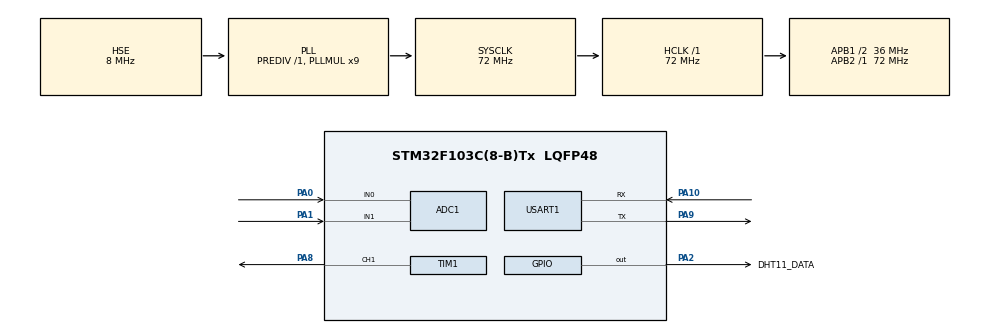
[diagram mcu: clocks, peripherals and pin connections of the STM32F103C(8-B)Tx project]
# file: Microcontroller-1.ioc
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ADC1.Channel-0\#ChannelRegularConversion=ADC_CHANNEL_0
ADC1.Channel-1\#ChannelRegularConversion=ADC_CHANNEL_1
ADC1.NbrOfConversion=2
ADC1.NbrOfConversionFlag=1
ADC1.Rank-0\#ChannelRegularConversion=1
ADC1.Rank-1\#ChannelRegularConversion=2
ADC1.SamplingTime-0\#ChannelRegularConversion=ADC_SAMPLETIME_55CYCLES_5
ADC1.SamplingTime-1\#ChannelRegularConversion=ADC_SAMPLETIME_55CYCLES_5
ADC1.master=1
Mcu.Family=STM32F1
Mcu.Name=STM32F103C(8-B)Tx
Mcu.Package=LQFP48
NVIC.PriorityGroup=NVIC_PRIORITYGROUP_4
PA0-WKUP.Signal=ADCx_IN0
PA1.Signal=ADCx_IN1
PA10.Mode=Asynchronous
PA10.Signal=USART1_RX
PA13.Mode=Serial_Wire
PA13.Signal=SYS_JTMS-SWDIO
PA14.Mode=Serial_Wire
PA14.Signal=SYS_JTCK-SWCLK
PA2.GPIO_Label=DHT11_DATA
PA2.GPIO_PuPd=GPIO_PULLUP
PA2.GPIO_Speed=GPIO_SPEED_FREQ_HIGH
PA2.PinState=GPIO_PIN_SET
PA2.Signal=GPIO_Output
PA8.Signal=S_TIM1_CH1
PA9.Mode=Asynchronous
PA9.Signal=USART1_TX
PD0-OSC_IN.Mode=HSE-External-Oscillator
PD0-OSC_IN.Signal=RCC_OSC_IN
PD1-OSC_OUT.Mode=HSE-External-Oscillator
PD1-OSC_OUT.Signal=RCC_OSC_OUT
ProjectManager.HeapSize=0x200
ProjectManager.StackSize=0x400
ProjectManager.TargetToolchain=STM32CubeIDE
RCC.ADCPresc=RCC_ADCPCLK2_DIV6
RCC.AHBFreq_Value=72000000
RCC.APB1CLKDivider=RCC_HCLK_DIV2
RCC.APB1Freq_Value=36000000
RCC.APB1TimFreq_Value=72000000
RCC.APB2Freq_Value=72000000
RCC.APB2TimFreq_Value=72000000
RCC.HCLKFreq_Value=72000000
RCC.PLLMUL=RCC_PLL_MUL9
RCC.PLLSourceVirtual=RCC_PLLSOURCE_HSE
RCC.SYSCLKFreq_VALUE=72000000
RCC.SYSCLKSource=RCC_SYSCLKSOURCE_PLLCLK
RCC.USBFreq_Value=72000000
SH.ADCx_IN0.0=ADC1_IN0,IN0
SH.ADCx_IN1.0=ADC1_IN1,IN1
SH.S_TIM1_CH1.0=TIM1_CH1,PWM Generation1 CH1
TIM1.Channel-PWM\ Generation1\ CH1=TIM_CHANNEL_1
TIM1.Period=19999
TIM1.Prescaler=71
TIM1.Pulse-PWM\ Generation1\ CH1=1000
USART1.VirtualMode=VM_ASYNC
board=custom

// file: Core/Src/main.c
/* USER CODE BEGIN Header */
/**
  ******************************************************************************
  * @file           : main.c
  * @brief          : Main program body
  ******************************************************************************
  * @attention
  *
  * Copyright (c) 2026 STMicroelectronics.
  * All rights reserved.
  *
  * This software is licensed under terms that can be found in the LICENSE file
  * in the root directory of this software component.
  * If no LICENSE file comes with this software, it is provided AS-IS.
  *
  ******************************************************************************
  */
/* USER CODE END Header */
#include "main.h"
#include "adc.h"
#include "tim.h"
#include "usart.h"
#include "gpio.h"

/* USER CODE BEGIN Includes */
#include <stdio.h>
#include <stdbool.h>
#include "dht11.h"
#include "servo.h"
#include "sensors.h"
/* USER CODE END Includes */

/* USER CODE BEGIN PD */
#define TARGET_SOIL_MOISTURE       60   /* Desired moisture level (%) */
#define DRY_SOIL_THRESHOLD         40   /* Trigger watering below this (%) */
#define BASE_SECONDS_PER_DEFICIT   0.4f /* Seconds per % deficit */
/* USER CODE END PD */

void SystemClock_Config(void);

/* USER CODE BEGIN 0 */
/* Redirect standard printf to USART1 (PA9 TX) */
int __io_putchar(int ch)
{
  HAL_UART_Transmit(&huart1, (uint8_t *)&ch, 1, 10);
  return ch;
}
/* USER CODE END 0 */

int main(void)
{

  /* MCU Configuration--------------------------------------------------------*/

  /* Reset of all peripherals, Initializes the Flash interface and the Systick. */
  HAL_Init();

  /* Configure the system clock */
  SystemClock_Config();

  /* Initialize all configured peripherals */
  MX_GPIO_Init();
  MX_ADC1_Init();
  MX_TIM1_Init();
  MX_USART1_UART_Init();
  /* USER CODE BEGIN 2 */
  DHT11_Init();
  Servo_Init();

  printf("\r\n========================================\r\n");
  printf("  STM32 Smart Irrigation System Started\r\n");
  printf("========================================\r\n");
  HAL_Delay(1000);
  /* USER CODE END 2 */

  /* Infinite loop */
  while (1)
  {

    /* USER CODE BEGIN 3 */
    DHT11_Data_t dht_data = {0};
    DHT11_StatusTypeDef dht_status = DHT11_Read(&dht_data);

    uint8_t soil_moisture = Sensors_GetSoilMoisturePercent();
    bool is_raining = Sensors_IsRaining();

    printf("\r\n----------------------------------------\r\n");
    printf("Soil Moisture : %d %%\r\n", soil_moisture);
    if (dht_status == DHT11_OK)
    {
      printf("Temperature   : %d C\r\n", dht_data.temperature);
      printf("Humidity      : %d %%\r\n", dht_data.humidity);
    }
    else
    {
      printf("DHT11 Status  : Waiting / Read Retry\r\n");
    }
    printf("Rain Status   : %s\r\n", is_raining ? "RAINING!" : "Clear / Dry");

    /* Automated Irrigation Control Logic */
    if (is_raining)
    {
      printf(">> Rain detected! Valve kept CLOSED to save water.\r\n");
      Valve_Close();
    }
    else if (soil_moisture < DRY_SOIL_THRESHOLD)
    {
      int deficit = TARGET_SOIL_MOISTURE - soil_moisture;
      float watering_duration = (float)deficit * BASE_SECONDS_PER_DEFICIT;

      /* Climate adjustments */
      if (dht_status == DHT11_OK)
      {
        if (dht_data.temperature > 30)
        {
          watering_duration *= 1.2f; /* +20% for rapid evaporation in heat */
        }
        if (dht_data.humidity < 40)
        {
          watering_duration *= 1.1f; /* +10% for dry air */
        }
      }

      /* Safety duration clamps (minimum 3s, maximum 25s) */
      if (watering_duration < 3.0f) watering_duration = 3.0f;
      if (watering_duration > 25.0f) watering_duration = 25.0f;

      printf(">> Dry Soil! Deficit: %d%%. Opening valve for %.1f s...\r\n", deficit, watering_duration);
      Valve_Open();
      HAL_Delay((uint32_t)(watering_duration * 1000));
      Valve_Close();
      printf(">> Watering finished. Valve CLOSED.\r\n");

      /* Soak delay: allow water to penetrate before next reading */
      printf(">> Allowing water to soak for 10 seconds...\r\n");
      HAL_Delay(10000);
    }
    else
    {
      printf(">> Soil moisture is adequate. Valve kept CLOSED.\r\n");
      Valve_Close();
    }

    /* Interval between telemetry updates */
    HAL_Delay(3000);
  }
  /* USER CODE END 3 */
}

void SystemClock_Config(void)
{
  RCC_OscInitTypeDef RCC_OscInitStruct = {0};
  RCC_ClkInitTypeDef RCC_ClkInitStruct = {0};
  RCC_PeriphCLKInitTypeDef PeriphClkInit = {0};

  /** Initializes the RCC Oscillators according to the specified parameters
  * in the RCC_OscInitTypeDef structure.
  */
  RCC_OscInitStruct.OscillatorType = RCC_OSCILLATORTYPE_HSE;
  RCC_OscInitStruct.HSEState = RCC_HSE_ON;
  RCC_OscInitStruct.HSEPredivValue = RCC_HSE_PREDIV_DIV1;
  RCC_OscInitStruct.HSIState = RCC_HSI_ON;
  RCC_OscInitStruct.PLL.PLLState = RCC_PLL_ON;
  RCC_OscInitStruct.PLL.PLLSource = RCC_PLLSOURCE_HSE;
  RCC_OscInitStruct.PLL.PLLMUL = RCC_PLL_MUL9;
  if (HAL_RCC_OscConfig(&RCC_OscInitStruct) != HAL_OK)
  {
    Error_Handler();
  }

  /** Initializes the CPU, AHB and APB buses clocks
  */
  RCC_ClkInitStruct.ClockType = RCC_CLOCKTYPE_HCLK|RCC_CLOCKTYPE_SYSCLK
                              |RCC_CLOCKTYPE_PCLK1|RCC_CLOCKTYPE_PCLK2;
  RCC_ClkInitStruct.SYSCLKSource = RCC_SYSCLKSOURCE_PLLCLK;
  RCC_ClkInitStruct.AHBCLKDivider = RCC_SYSCLK_DIV1;
  RCC_ClkInitStruct.APB1CLKDivider = RCC_HCLK_DIV2;
  RCC_ClkInitStruct.APB2CLKDivider = RCC_HCLK_DIV1;

  if (HAL_RCC_ClockConfig(&RCC_ClkInitStruct, FLASH_LATENCY_2) != HAL_OK)
  {
    Error_Handler();
  }
  PeriphClkInit.PeriphClockSelection = RCC_PERIPHCLK_ADC;
  PeriphClkInit.AdcClockSelection = RCC_ADCPCLK2_DIV6;
  if (HAL_RCCEx_PeriphCLKConfig(&PeriphClkInit) != HAL_OK)
  {
    Error_Handler();
  }
}

void Error_Handler(void)
{
  __disable_irq();
  while (1)
  {
  }
}
